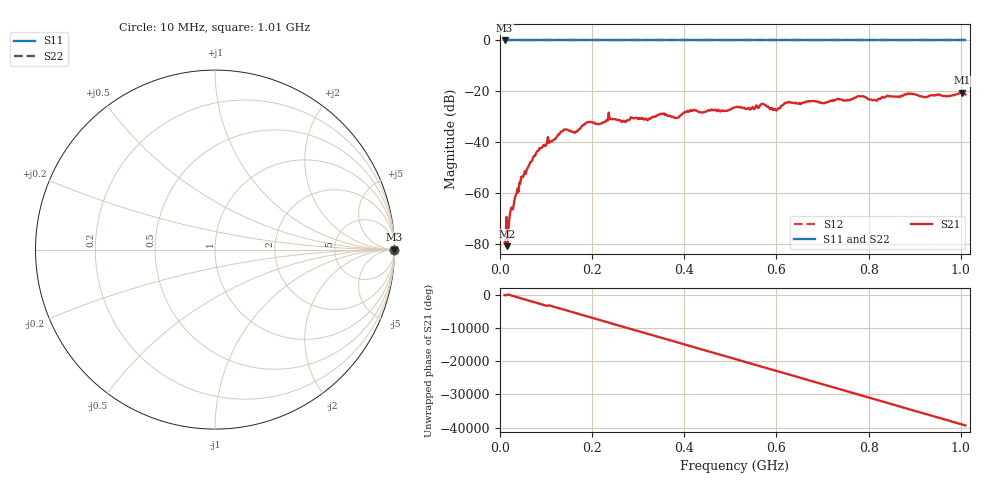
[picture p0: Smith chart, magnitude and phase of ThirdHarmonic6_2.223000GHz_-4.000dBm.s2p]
! 8/17/2025 2:28:16 AM
! C:\ANRITSUVNA\TEMP\TEMP.S2P
! CHANNEL.1
! TR.MEASUREMENT
! RAW.DATA
! RF.CORRECTION.OFF
! AVERAGING.OFF
! IF.BANDWIDTH: 5KHZ
! SWEEPTYPE:  FREQ.SWEEP(Linear)
! Reference Plane Port Info
! PORT:  PORT1  PORT2
! DISTANCE:  0  m  0  m
! TIME:  0  s  0  s
! PHASE.OFFSET:  0  deg.  0  deg.
! LOSS:  0  dB  0  dB
! REF.LOSS:  0  dB  0  dB
! REF.FREQ:  0  Hz  0  Hz
! Power Info
! POWER:  -20  dBm  -20  dBm
! EFF.POWER:  -20  dBm  -20  dBm
! SOURCE.ATTEN:  0  dB  0  dB
! TEST.ATTEN:  0  dB  0  dB
# GHZ S RI R 50.0
! FREQ.GHZ  S11RE  S11IM  S21RE  S21IM  S12RE  S12IM  S22RE  S22IM
!; PortSelection: Port_12
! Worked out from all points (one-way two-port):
!   501 points, 10 MHz to 1.01 GHz, reference 50 ohm
!   highest |S21| = -20.62 dB at 1.002 GHz (marker M1); lowest = -81.0 dB at 16 MHz (marker M2)
!   lowest |S11| = 0.0 dB at 10 MHz (marker M3)
!   |S11| at or under -10 dB: nowhere
!   |S22| runs from 0.0 to 0.0 dB; largest |S21 - S12| = 1.1
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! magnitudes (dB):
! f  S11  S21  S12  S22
! 10 MHz  0.0  -79.6  0.0  0.0
! 16 MHz  0.0  -81.0  0.0  0.0
! 24 MHz  0.0  -66.0  0.0  0.0
! 46 MHz  0.0  -53.7  0.0  0.0
! 82 MHz  0.0  -43.5  0.0  0.0
! 136 MHz  0.0  -35.7  0.0  0.0
! 164 MHz  0.0  -36.1  0.0  0.0
! 178 MHz  0.0  -33.7  0.0  0.0
! 240 MHz  0.0  -30.9  0.0  0.0
! 268 MHz  0.0  -31.6  0.0  0.0
! 344 MHz  0.0  -29.4  0.0  0.0
! 384 MHz  0.0  -30.6  0.0  0.0
! 416 MHz  0.0  -27.7  0.0  0.0
! 510 MHz  0.0  -26.3  0.0  0.0
! 570 MHz  0.0  -24.9  0.0  0.0
! 596 MHz  0.0  -27.0  0.0  0.0
! 622 MHz  0.0  -24.6  0.0  0.0
! 678 MHz  0.0  -23.8  0.0  0.0
! 814 MHz  0.0  -23.4  0.0  0.0
! 844 MHz  0.0  -22.0  0.0  0.0
! 1.002 GHz  0.0  -20.6  0.0  0.0
! 1.01 GHz  0.0  -21.2  0.0  0.0
